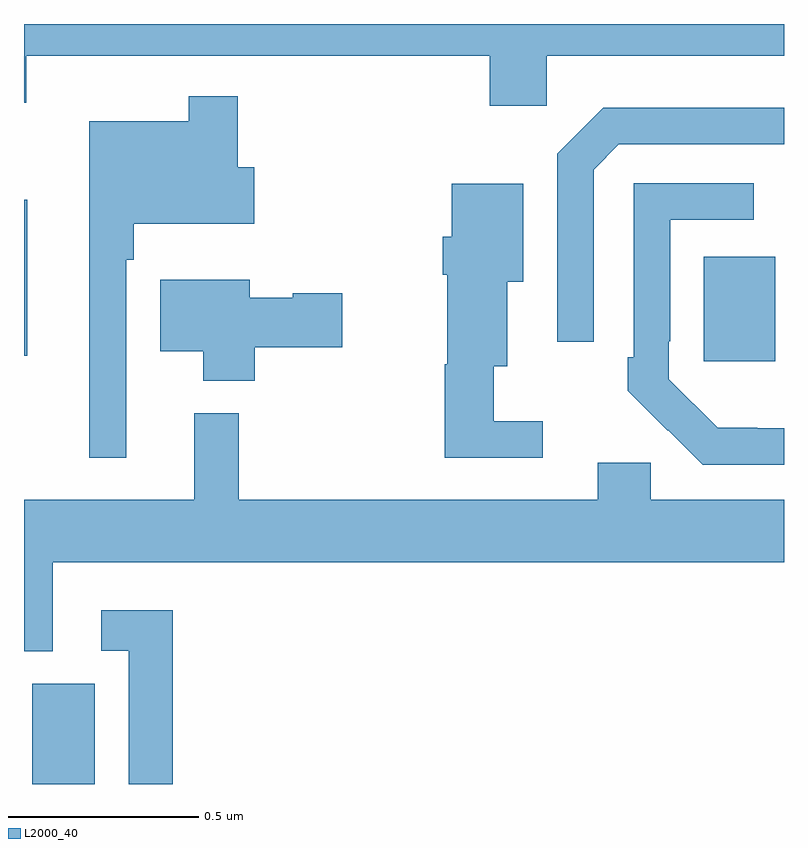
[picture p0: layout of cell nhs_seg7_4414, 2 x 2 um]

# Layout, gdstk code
import gdstk
lib = gdstk.Library(unit=1e-6, precision=1e-09)
def R(c, l, rs):  # rectangles x0, y0, x1, y1
    for r in rs: c.add(gdstk.rectangle(r[:2], r[2:], *l))
def P(c, l, *ps):  # polygons
    for p in ps: c.add(gdstk.Polygon(p, *l))
L2000_40 = (2000, 40)

nhs_seg7_4414 = lib.new_cell('nhs_seg7_4414')
R(nhs_seg7_4414, L2000_40, [(172.022,1032,172.186,1032.264), (173.789,1033.113,173.977,1033.387), (172,1033.127,172.009,1033.537)])
P(nhs_seg7_4414, L2000_40, [(173.376,1033.916),(174,1033.916),(174,1034),(172,1034),(172,1033.793),(172.006,1033.793),(172.006,1033.916),(173.225,1033.916),(173.225,1033.785),(173.376,1033.785)],
  [(172.269,1033.379),(172.289,1033.379),(172.289,1033.475),(172.606,1033.475),(172.606,1033.623),(172.562,1033.623),(172.562,1033.81),(172.434,1033.81),(172.434,1033.744),(172.172,1033.744),(172.172,1032.858),(172.269,1032.858)],
  [(173.499,1033.617),(173.565,1033.683),(174,1033.683),(174,1033.78),(173.524,1033.78),(173.403,1033.659),(173.403,1033.164),(173.499,1033.164)],
  [(174,1032.936),(173.929,1032.936),(173.929,1032.937),(173.826,1032.937),(173.697,1033.065),(173.697,1033.165),(173.7,1033.165),(173.7,1033.485),(173.92,1033.485),(173.92,1033.581),(173.604,1033.581),(173.604,1033.123),(173.589,1033.123),(173.589,1033.035),(173.694,1032.93),(173.695,1032.931),(173.786,1032.84),(174,1032.84)],
  [(173.365,1032.955),(173.236,1032.955),(173.236,1033.1),(173.272,1033.1),(173.272,1033.322),(173.314,1033.322),(173.314,1033.579),(173.126,1033.579),(173.126,1033.44),(173.102,1033.44),(173.102,1033.34),(173.114,1033.34),(173.114,1033.104),(173.107,1033.104),(173.107,1032.858),(173.365,1032.858)],
  [(172.607,1033.15),(172.837,1033.15),(172.837,1033.292),(172.707,1033.292),(172.707,1033.279),(172.594,1033.279),(172.594,1033.327),(172.358,1033.327),(172.358,1033.139),(172.472,1033.139),(172.472,1033.061),(172.607,1033.061)],
  [(172.075,1032.584),(174,1032.584),(174,1032.748),(173.649,1032.748),(173.649,1032.846),(173.51,1032.846),(173.51,1032.748),(172.565,1032.748),(172.565,1032.976),(172.448,1032.976),(172.448,1032.748),(172,1032.748),(172,1032.349),(172.075,1032.349)],
  [(172.391,1032.457),(172.203,1032.457),(172.203,1032.351),(172.275,1032.351),(172.275,1032),(172.391,1032)])

lib.write_gds('nhs_seg7_4414.gds')
